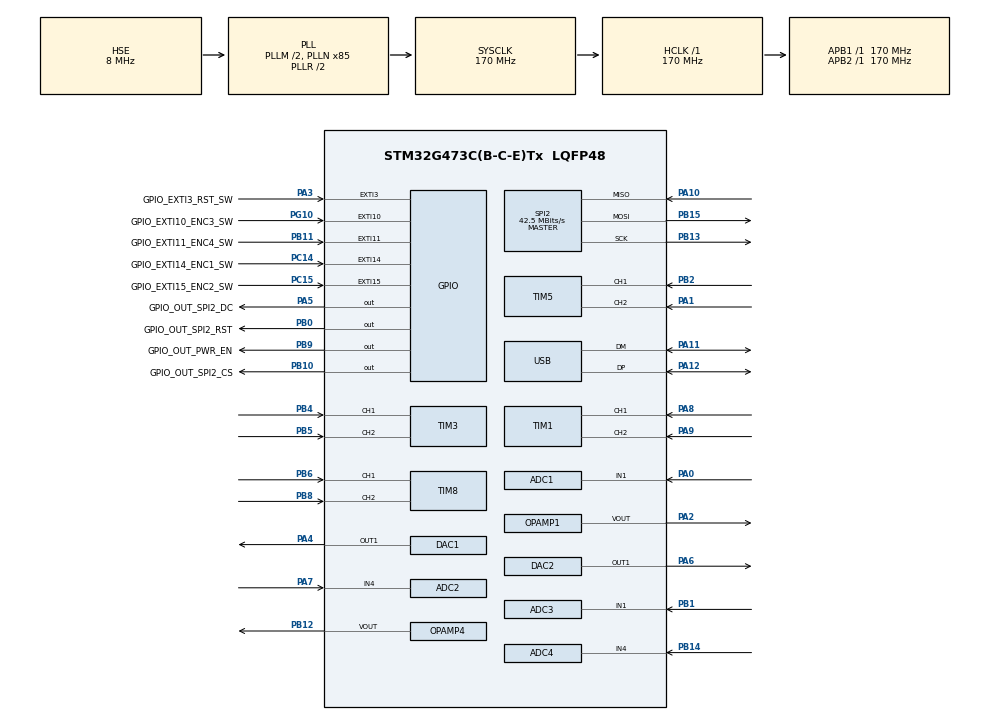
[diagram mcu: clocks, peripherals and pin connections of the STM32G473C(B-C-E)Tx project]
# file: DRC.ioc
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ADC1.Channel-2\#ChannelRegularConversion=ADC_CHANNEL_1
ADC1.NbrOfConversionFlag=1
ADC1.OffsetNumber-2\#ChannelRegularConversion=ADC_OFFSET_NONE
ADC1.Rank-2\#ChannelRegularConversion=1
ADC1.SamplingTime-2\#ChannelRegularConversion=ADC_SAMPLETIME_2CYCLES_5
ADC1.master=1
ADC2.Channel-2\#ChannelRegularConversion=ADC_CHANNEL_4
ADC2.NbrOfConversionFlag=1
ADC2.OffsetNumber-2\#ChannelRegularConversion=ADC_OFFSET_NONE
ADC2.Rank-2\#ChannelRegularConversion=1
ADC2.SamplingTime-2\#ChannelRegularConversion=ADC_SAMPLETIME_2CYCLES_5
ADC3.Channel-2\#ChannelRegularConversion=ADC_CHANNEL_1
ADC3.NbrOfConversionFlag=1
ADC3.OffsetNumber-2\#ChannelRegularConversion=ADC_OFFSET_NONE
ADC3.Rank-2\#ChannelRegularConversion=1
ADC3.SamplingTime-2\#ChannelRegularConversion=ADC_SAMPLETIME_2CYCLES_5
ADC3.master=1
ADC4.Channel-2\#ChannelRegularConversion=ADC_CHANNEL_4
ADC4.NbrOfConversionFlag=1
ADC4.OffsetNumber-2\#ChannelRegularConversion=ADC_OFFSET_NONE
ADC4.Rank-2\#ChannelRegularConversion=1
ADC4.SamplingTime-2\#ChannelRegularConversion=ADC_SAMPLETIME_2CYCLES_5
DAC4.DAC_Channel-DAC_OUT2_Int=DAC_CHANNEL_2
Mcu.Family=STM32G4
Mcu.Name=STM32G473C(B-C-E)Tx
Mcu.Package=LQFP48
NVIC.EXTI15_10_IRQn=true\:0\:0\:false\:false\:true\:true\:true\:true
NVIC.EXTI3_IRQn=true\:0\:0\:false\:false\:true\:true\:true\:true
NVIC.PVD_PVM_IRQn=true\:0\:0\:false\:false\:true\:true\:true\:true
NVIC.PriorityGroup=NVIC_PRIORITYGROUP_4
NVIC.TIM1_CC_IRQn=true\:0\:0\:false\:false\:true\:true\:true\:true
NVIC.TIM3_IRQn=true\:0\:0\:false\:false\:true\:true\:true\:true
NVIC.TIM5_IRQn=true\:0\:0\:false\:false\:true\:true\:true\:true
NVIC.TIM8_CC_IRQn=true\:0\:0\:false\:false\:true\:true\:true\:true
NVIC.USB_LP_IRQn=true\:0\:0\:false\:false\:true\:false\:true\:true
PA0.Mode=IN1-Single-Ended
PA0.Signal=ADC1_IN1
PA1.Signal=S_TIM5_CH2
PA10.Mode=Full_Duplex_Master
PA10.Signal=SPI2_MISO
PA11.Mode=Device
PA11.Signal=USB_DM
PA12.Mode=Device
PA12.Signal=USB_DP
PA13.Mode=JTAG_4_pins
PA13.Signal=SYS_JTMS-SWDIO
PA14.Mode=JTAG_4_pins
PA14.Signal=SYS_JTCK-SWCLK
PA15.Mode=JTAG_4_pins
PA15.Signal=SYS_JTDI
PA2.Mode=Follower-DAC_OUT2-INP
PA2.Signal=OPAMP1_VOUT
PA3.GPIO_Label=GPIO_EXTI3_RST_SW
PA3.Signal=GPXTI3
PA4.Signal=COMP_DAC11_group
PA5.GPIO_Label=GPIO_OUT_SPI2_DC
PA5.Signal=GPIO_Output
PA6.Signal=COMP_DAC21_group
PA7.Mode=IN4-Single-Ended
PA7.Signal=ADC2_IN4
PA8.Signal=S_TIM1_CH1
PA9.Signal=S_TIM1_CH2
PB0.GPIO_Label=GPIO_OUT_SPI2_RST
PB0.Signal=GPIO_Output
PB1.Mode=IN1-Single-Ended
PB1.Signal=ADC3_IN1
PB10.GPIO_Label=GPIO_OUT_SPI2_CS
PB10.Signal=GPIO_Output
PB11.GPIO_Label=GPIO_EXTI11_ENC4_SW
PB11.Signal=GPXTI11
PB12.Mode=Follower-DAC_OUT2-INP
PB12.Signal=OPAMP4_VOUT
PB13.Mode=Full_Duplex_Master
PB13.Signal=SPI2_SCK
PB14.Mode=IN4-Single-Ended
PB14.Signal=ADC4_IN4
PB15.Mode=Full_Duplex_Master
PB15.Signal=SPI2_MOSI
PB2.Signal=S_TIM5_CH1
PB3.Mode=JTAG_4_pins
PB3.Signal=SYS_JTDO-SWO
PB4.Signal=S_TIM3_CH1
PB5.Signal=S_TIM3_CH2
PB6.Signal=S_TIM8_CH1
PB7.Mode=Mode_PVD_Ext
PB7.Signal=SYS_PVD_IN
PB8-BOOT0.Signal=S_TIM8_CH2
PB9.GPIO_Label=GPIO_OUT_PWR_EN
PB9.Signal=GPIO_Output
PC13.Mode=SYS_WakeUp1
PC13.Signal=SYS_WKUP2
PC14-OSC32_IN.GPIO_Label=GPIO_EXTI14_ENC1_SW
PC14-OSC32_IN.Signal=GPXTI14
PC15-OSC32_OUT.GPIO_Label=GPIO_EXTI15_ENC2_SW
PC15-OSC32_OUT.Signal=GPXTI15
PF0-OSC_IN.Mode=HSE-External-Oscillator
PF0-OSC_IN.Signal=RCC_OSC_IN
PF1-OSC_OUT.Mode=HSE-External-Oscillator
PF1-OSC_OUT.Signal=RCC_OSC_OUT
PG10-NRST.GPIO_Label=GPIO_EXTI10_ENC3_SW
PG10-NRST.Signal=GPXTI10
ProjectManager.HeapSize=0x200
ProjectManager.StackSize=0x400
ProjectManager.TargetToolchain=STM32CubeIDE
RCC.ADC12Freq_Value=170000000
RCC.ADC345Freq_Value=170000000
RCC.AHBFreq_Value=170000000
RCC.APB1Freq_Value=170000000
RCC.APB1TimFreq_Value=170000000
RCC.APB2Freq_Value=170000000
RCC.APB2TimFreq_Value=170000000
RCC.CK48CLockSelection=RCC_USBCLKSOURCE_HSI48
RCC.CortexFreq_Value=170000000
RCC.EXTERNAL_CLOCK_VALUE=12288000
RCC.HCLKFreq_Value=170000000
RCC.HSE_VALUE=8000000
RCC.HSI48_VALUE=48000000
RCC.HSI_VALUE=16000000
RCC.PLLM=RCC_PLLM_DIV2
RCC.PLLN=85
RCC.PLLSourceVirtual=RCC_PLLSOURCE_HSE
RCC.SYSCLKFreq_VALUE=170000000
RCC.SYSCLKSource=RCC_SYSCLKSOURCE_PLLCLK
RCC.USBFreq_Value=48000000
RCC.VCOOutputFreq_Value=340000000
SH.COMP_DAC11_group.0=DAC1_OUT1,DAC_OUT1
SH.COMP_DAC21_group.0=DAC2_OUT1,DAC_OUT1
SH.S_TIM1_CH1.0=TIM1_CH1,Encoder_Interface
SH.S_TIM1_CH2.0=TIM1_CH2,Encoder_Interface
SH.S_TIM3_CH1.0=TIM3_CH1,Encoder_Interface
SH.S_TIM3_CH2.0=TIM3_CH2,Encoder_Interface
SH.S_TIM5_CH1.0=TIM5_CH1,Encoder_Interface
SH.S_TIM5_CH2.0=TIM5_CH2,Encoder_Interface
SH.S_TIM8_CH1.0=TIM8_CH1,Encoder_Interface
SH.S_TIM8_CH2.0=TIM8_CH2,Encoder_Interface
SPI2.BaudRatePrescaler=SPI_BAUDRATEPRESCALER_4
SPI2.CLKPhase=SPI_PHASE_1EDGE
SPI2.CalculateBaudRate=42.5 MBits/s
SPI2.Direction=SPI_DIRECTION_2LINES
SPI2.Mode=SPI_MODE_MASTER
SPI2.VirtualNSS=VM_NSSHARD
SPI2.VirtualType=VM_MASTER
TIM1.AutoReloadPreload=TIM_AUTORELOAD_PRELOAD_DISABLE
TIM1.EncoderMode=TIM_ENCODERMODE_TI12
TIM1.IC1Filter=0
TIM1.IC2Filter=0
TIM3.AutoReloadPreload=TIM_AUTORELOAD_PRELOAD_DISABLE
TIM3.EncoderMode=TIM_ENCODERMODE_TI12
TIM3.IC1Filter=0
TIM3.IC2Filter=0
TIM5.AutoReloadPreload=TIM_AUTORELOAD_PRELOAD_ENABLE
TIM5.EncoderMode=TIM_ENCODERMODE_TI12
TIM5.IC1Filter=10
TIM5.IC2Filter=10
TIM8.AutoReloadPreload=TIM_AUTORELOAD_PRELOAD_ENABLE
TIM8.EncoderMode=TIM_ENCODERMODE_TI12
TIM8.IC1Filter=10
TIM8.IC2Filter=10
USB_DEVICE.CLASS_NAME_FS=DFU
USB_DEVICE.VirtualMode=Dfu
USB_DEVICE.VirtualModeFS=Dfu_FS
VP_CORDIC_VS_CORDIC.Mode=CORDIC_Activate
VP_DAC3_VS_DACI1.Mode=DAC_OUT1_Int
VP_DAC4_VS_DACI1.Mode=DAC_OUT1_Int
VP_SYS_VS_DBSignals.Mode=DisableDeadBatterySignals
VP_USB_DEVICE_VS_USB_DEVICE_DFU_FS.Mode=DFU_FS
board=custom

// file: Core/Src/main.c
/* USER CODE BEGIN Header */
/**
  ******************************************************************************
  * @file           : main.c
  * @brief          : Main program body
  ******************************************************************************
  * @attention
  *
  * Copyright (c) 2024 STMicroelectronics.
  * All rights reserved.
  *
  * This software is licensed under terms that can be found in the LICENSE file
  * in the root directory of this software component.
  * If no LICENSE file comes with this software, it is provided AS-IS.
  *
  ******************************************************************************
  */
/* USER CODE END Header */
#include "main.h"
#include "usb_device.h"

/* USER CODE BEGIN Includes */
#include "stm32g4xx_hal_dac.h"
#include "motor_encoder.h"
/* USER CODE END Includes */

ADC_HandleTypeDef hadc1;
ADC_HandleTypeDef hadc2;
ADC_HandleTypeDef hadc3;
ADC_HandleTypeDef hadc4;

CORDIC_HandleTypeDef hcordic;

DAC_HandleTypeDef hdac1;
DAC_HandleTypeDef hdac2;
DAC_HandleTypeDef hdac3;
DAC_HandleTypeDef hdac4;

OPAMP_HandleTypeDef hopamp1;
OPAMP_HandleTypeDef hopamp4;

SPI_HandleTypeDef hspi2;

TIM_HandleTypeDef htim1;
TIM_HandleTypeDef htim3;
TIM_HandleTypeDef htim5;
TIM_HandleTypeDef htim8;

void SystemClock_Config(void);
static void MX_GPIO_Init(void);
static void MX_ADC1_Init(void);
static void MX_ADC4_Init(void);
static void MX_DAC1_Init(void);
static void MX_DAC2_Init(void);
static void MX_DAC3_Init(void);
static void MX_DAC4_Init(void);
static void MX_ADC2_Init(void);
static void MX_ADC3_Init(void);
static void MX_OPAMP1_Init(void);
static void MX_OPAMP4_Init(void);
static void MX_TIM3_Init(void);
static void MX_TIM8_Init(void);
static void MX_SPI2_Init(void);
static void MX_TIM1_Init(void);
static void MX_CORDIC_Init(void);
static void MX_TIM5_Init(void);
/* USER CODE BEGIN PFP */
void HAL_TIM_PeriodElapsedCallback(TIM_HandleTypeDef *htim);
void SetDACOutput(DAC_HandleTypeDef* hdac, uint32_t Channel, uint32_t Alignment, uint32_t Data);
void SetDACVoltage(DAC_HandleTypeDef* hdac, uint32_t Channel, float DesiredVoltage, float ReferenceVoltage);
/* USER CODE END PFP */

/* USER CODE BEGIN 0 */
uint16_t tim_ct_1;
int16_t enc_vel_1;
int32_t enc_pos_1;
int16_t enc_vel_2;
int32_t enc_pos_2;
uint16_t tim_ct_2;
int16_t enc_vel_3;
int32_t enc_pos_3;
uint16_t tim_ct_3;
int16_t enc_vel_4;
int32_t enc_pos_4;
uint16_t tim_ct_4;

void HAL_TIM_PeriodElapsedCallback(TIM_HandleTypeDef *htim)
{
  tim_ct_1 = __HAL_TIM_GET_COUNTER(&htim1);
  update_encoder(&enc_instance, &htim1);
  enc_pos_1 = enc_instance.position;
  enc_vel_1 = enc_instance.velocity;
}

void SetDACOutput(DAC_HandleTypeDef *hdac, uint32_t Channel, uint32_t Alignment, uint32_t Data)
{
  // Check if DAC is ready and start the DAC channel if not already started
  if(HAL_DAC_Start(hdac, Channel) != HAL_OK)
  {
	  Error_Handler(); // Handle error
  }
  // Set the DAC value
  if(HAL_DAC_SetValue(hdac, Channel, Alignment, Data) != HAL_OK)
  {
	  Error_Handler(); // Handle error
  }
}

void SetDACVoltage(DAC_HandleTypeDef* hdac, uint32_t Channel, float DesiredVoltage, float ReferenceVoltage)
{
  if(ReferenceVoltage <= 0)
  {
	  // Avoid division by zero
	  Error_Handler();
	  return;
  }

  // Assuming a 12-bit DAC, Max DAC Value = 4095
  uint32_t MaxDACValue = 4095;
  uint32_t DACValue = (uint32_t)((DesiredVoltage / ReferenceVoltage) * MaxDACValue);

  // Ensure DACValue does not exceed MaxDACValue
  if(DACValue > MaxDACValue)
  {
	  DACValue = MaxDACValue;
  }

  // Use SetDACOutput to set the value
  SetDACOutput(hdac, Channel, DAC_ALIGN_12B_R, DACValue);
}

/* USER CODE END 0 */

int main(void)
{

  /* MCU Configuration--------------------------------------------------------*/

  /* Reset of all peripherals, Initializes the Flash interface and the Systick. */
  HAL_Init();

  /* Configure the system clock */
  SystemClock_Config();

  /* Initialize all configured peripherals */
  MX_GPIO_Init();
  MX_ADC1_Init();
  MX_ADC4_Init();
  MX_DAC1_Init();
  MX_DAC2_Init();
  MX_DAC3_Init();
  MX_DAC4_Init();
  MX_USB_Device_Init();
  MX_ADC2_Init();
  MX_ADC3_Init();
  MX_OPAMP1_Init();
  MX_OPAMP4_Init();
  MX_TIM3_Init();
  MX_TIM8_Init();
  MX_SPI2_Init();
  MX_TIM1_Init();
  MX_CORDIC_Init();
  MX_TIM5_Init();

  /* Infinite loop */
  while (1)
  {

  }
}

void SystemClock_Config(void)
{
  RCC_OscInitTypeDef RCC_OscInitStruct = {0};
  RCC_ClkInitTypeDef RCC_ClkInitStruct = {0};

  /** Configure the main internal regulator output voltage
  */
  HAL_PWREx_ControlVoltageScaling(PWR_REGULATOR_VOLTAGE_SCALE1_BOOST);

  /** Initializes the RCC Oscillators according to the specified parameters
  * in the RCC_OscInitTypeDef structure.
  */
  RCC_OscInitStruct.OscillatorType = RCC_OSCILLATORTYPE_HSI48|RCC_OSCILLATORTYPE_HSE;
  RCC_OscInitStruct.HSEState = RCC_HSE_ON;
  RCC_OscInitStruct.HSI48State = RCC_HSI48_ON;
  RCC_OscInitStruct.PLL.PLLState = RCC_PLL_ON;
  RCC_OscInitStruct.PLL.PLLSource = RCC_PLLSOURCE_HSE;
  RCC_OscInitStruct.PLL.PLLM = RCC_PLLM_DIV2;
  RCC_OscInitStruct.PLL.PLLN = 85;
  RCC_OscInitStruct.PLL.PLLP = RCC_PLLP_DIV2;
  RCC_OscInitStruct.PLL.PLLQ = RCC_PLLQ_DIV2;
  RCC_OscInitStruct.PLL.PLLR = RCC_PLLR_DIV2;
  if (HAL_RCC_OscConfig(&RCC_OscInitStruct) != HAL_OK)
  {
    Error_Handler();
  }

  /** Initializes the CPU, AHB and APB buses clocks
  */
  RCC_ClkInitStruct.ClockType = RCC_CLOCKTYPE_HCLK|RCC_CLOCKTYPE_SYSCLK
                              |RCC_CLOCKTYPE_PCLK1|RCC_CLOCKTYPE_PCLK2;
  RCC_ClkInitStruct.SYSCLKSource = RCC_SYSCLKSOURCE_PLLCLK;
  RCC_ClkInitStruct.AHBCLKDivider = RCC_SYSCLK_DIV1;
  RCC_ClkInitStruct.APB1CLKDivider = RCC_HCLK_DIV1;
  RCC_ClkInitStruct.APB2CLKDivider = RCC_HCLK_DIV1;

  if (HAL_RCC_ClockConfig(&RCC_ClkInitStruct, FLASH_LATENCY_4) != HAL_OK)
  {
    Error_Handler();
  }
}

static void MX_ADC1_Init(void)
{

  ADC_MultiModeTypeDef multimode = {0};
  ADC_ChannelConfTypeDef sConfig = {0};

  /** Common config
  */
  hadc1.Instance = ADC1;
  hadc1.Init.ClockPrescaler = ADC_CLOCK_SYNC_PCLK_DIV4;
  hadc1.Init.Resolution = ADC_RESOLUTION_12B;
  hadc1.Init.DataAlign = ADC_DATAALIGN_RIGHT;
  hadc1.Init.GainCompensation = 0;
  hadc1.Init.ScanConvMode = ADC_SCAN_DISABLE;
  hadc1.Init.EOCSelection = ADC_EOC_SINGLE_CONV;
  hadc1.Init.LowPowerAutoWait = DISABLE;
  hadc1.Init.ContinuousConvMode = DISABLE;
  hadc1.Init.NbrOfConversion = 1;
  hadc1.Init.DiscontinuousConvMode = DISABLE;
  hadc1.Init.ExternalTrigConv = ADC_SOFTWARE_START;
  hadc1.Init.ExternalTrigConvEdge = ADC_EXTERNALTRIGCONVEDGE_NONE;
  hadc1.Init.DMAContinuousRequests = DISABLE;
  hadc1.Init.Overrun = ADC_OVR_DATA_PRESERVED;
  hadc1.Init.OversamplingMode = DISABLE;
  if (HAL_ADC_Init(&hadc1) != HAL_OK)
  {
    Error_Handler();
  }

  /** Configure the ADC multi-mode
  */
  multimode.Mode = ADC_MODE_INDEPENDENT;
  if (HAL_ADCEx_MultiModeConfigChannel(&hadc1, &multimode) != HAL_OK)
  {
    Error_Handler();
  }

  /** Configure Regular Channel
  */
  sConfig.Channel = ADC_CHANNEL_1;
  sConfig.Rank = ADC_REGULAR_RANK_1;
  sConfig.SamplingTime = ADC_SAMPLETIME_2CYCLES_5;
  sConfig.SingleDiff = ADC_SINGLE_ENDED;
  sConfig.OffsetNumber = ADC_OFFSET_NONE;
  sConfig.Offset = 0;
  if (HAL_ADC_ConfigChannel(&hadc1, &sConfig) != HAL_OK)
  {
    Error_Handler();
  }

}

static void MX_ADC2_Init(void)
{

  ADC_ChannelConfTypeDef sConfig = {0};

  /** Common config
  */
  hadc2.Instance = ADC2;
  hadc2.Init.ClockPrescaler = ADC_CLOCK_SYNC_PCLK_DIV4;
  hadc2.Init.Resolution = ADC_RESOLUTION_12B;
  hadc2.Init.DataAlign = ADC_DATAALIGN_RIGHT;
  hadc2.Init.GainCompensation = 0;
  hadc2.Init.ScanConvMode = ADC_SCAN_DISABLE;
  hadc2.Init.EOCSelection = ADC_EOC_SINGLE_CONV;
  hadc2.Init.LowPowerAutoWait = DISABLE;
  hadc2.Init.ContinuousConvMode = DISABLE;
  hadc2.Init.NbrOfConversion = 1;
  hadc2.Init.DiscontinuousConvMode = DISABLE;
  hadc2.Init.ExternalTrigConv = ADC_SOFTWARE_START;
  hadc2.Init.ExternalTrigConvEdge = ADC_EXTERNALTRIGCONVEDGE_NONE;
  hadc2.Init.DMAContinuousRequests = DISABLE;
  hadc2.Init.Overrun = ADC_OVR_DATA_PRESERVED;
  hadc2.Init.OversamplingMode = DISABLE;
  if (HAL_ADC_Init(&hadc2) != HAL_OK)
  {
    Error_Handler();
  }

  /** Configure Regular Channel
  */
  sConfig.Channel = ADC_CHANNEL_4;
  sConfig.Rank = ADC_REGULAR_RANK_1;
  sConfig.SamplingTime = ADC_SAMPLETIME_2CYCLES_5;
  sConfig.SingleDiff = ADC_SINGLE_ENDED;
  sConfig.OffsetNumber = ADC_OFFSET_NONE;
  sConfig.Offset = 0;
  if (HAL_ADC_ConfigChannel(&hadc2, &sConfig) != HAL_OK)
  {
    Error_Handler();
  }

}

static void MX_ADC3_Init(void)
{

  ADC_MultiModeTypeDef multimode = {0};
  ADC_ChannelConfTypeDef sConfig = {0};

  /** Common config
  */
  hadc3.Instance = ADC3;
  hadc3.Init.ClockPrescaler = ADC_CLOCK_SYNC_PCLK_DIV4;
  hadc3.Init.Resolution = ADC_RESOLUTION_12B;
  hadc3.Init.DataAlign = ADC_DATAALIGN_RIGHT;
  hadc3.Init.GainCompensation = 0;
  hadc3.Init.ScanConvMode = ADC_SCAN_DISABLE;
  hadc3.Init.EOCSelection = ADC_EOC_SINGLE_CONV;
  hadc3.Init.LowPowerAutoWait = DISABLE;
  hadc3.Init.ContinuousConvMode = DISABLE;
  hadc3.Init.NbrOfConversion = 1;
  hadc3.Init.DiscontinuousConvMode = DISABLE;
  hadc3.Init.ExternalTrigConv = ADC_SOFTWARE_START;
  hadc3.Init.ExternalTrigConvEdge = ADC_EXTERNALTRIGCONVEDGE_NONE;
  hadc3.Init.DMAContinuousRequests = DISABLE;
  hadc3.Init.Overrun = ADC_OVR_DATA_PRESERVED;
  hadc3.Init.OversamplingMode = DISABLE;
  if (HAL_ADC_Init(&hadc3) != HAL_OK)
  {
    Error_Handler();
  }

  /** Configure the ADC multi-mode
  */
  multimode.Mode = ADC_MODE_INDEPENDENT;
  if (HAL_ADCEx_MultiModeConfigChannel(&hadc3, &multimode) != HAL_OK)
  {
    Error_Handler();
  }

  /** Configure Regular Channel
  */
  sConfig.Channel = ADC_CHANNEL_1;
  sConfig.Rank = ADC_REGULAR_RANK_1;
  sConfig.SamplingTime = ADC_SAMPLETIME_2CYCLES_5;
  sConfig.SingleDiff = ADC_SINGLE_ENDED;
  sConfig.OffsetNumber = ADC_OFFSET_NONE;
  sConfig.Offset = 0;
  if (HAL_ADC_ConfigChannel(&hadc3, &sConfig) != HAL_OK)
  {
    Error_Handler();
  }

}

static void MX_ADC4_Init(void)
{

  ADC_ChannelConfTypeDef sConfig = {0};

  /** Common config
  */
  hadc4.Instance = ADC4;
  hadc4.Init.ClockPrescaler = ADC_CLOCK_SYNC_PCLK_DIV4;
  hadc4.Init.Resolution = ADC_RESOLUTION_12B;
  hadc4.Init.DataAlign = ADC_DATAALIGN_RIGHT;
  hadc4.Init.GainCompensation = 0;
  hadc4.Init.ScanConvMode = ADC_SCAN_DISABLE;
  hadc4.Init.EOCSelection = ADC_EOC_SINGLE_CONV;
  hadc4.Init.LowPowerAutoWait = DISABLE;
  hadc4.Init.ContinuousConvMode = DISABLE;
  hadc4.Init.NbrOfConversion = 1;
  hadc4.Init.DiscontinuousConvMode = DISABLE;
  hadc4.Init.ExternalTrigConv = ADC_SOFTWARE_START;
  hadc4.Init.ExternalTrigConvEdge = ADC_EXTERNALTRIGCONVEDGE_NONE;
  hadc4.Init.DMAContinuousRequests = DISABLE;
  hadc4.Init.Overrun = ADC_OVR_DATA_PRESERVED;
  hadc4.Init.OversamplingMode = DISABLE;
  if (HAL_ADC_Init(&hadc4) != HAL_OK)
  {
    Error_Handler();
  }

  /** Configure Regular Channel
  */
  sConfig.Channel = ADC_CHANNEL_4;
  sConfig.Rank = ADC_REGULAR_RANK_1;
  sConfig.SamplingTime = ADC_SAMPLETIME_2CYCLES_5;
  sConfig.SingleDiff = ADC_SINGLE_ENDED;
  sConfig.OffsetNumber = ADC_OFFSET_NONE;
  sConfig.Offset = 0;
  if (HAL_ADC_ConfigChannel(&hadc4, &sConfig) != HAL_OK)
  {
    Error_Handler();
  }

}

static void MX_CORDIC_Init(void)
{

  hcordic.Instance = CORDIC;
  if (HAL_CORDIC_Init(&hcordic) != HAL_OK)
  {
    Error_Handler();
  }

}

static void MX_DAC1_Init(void)
{

  DAC_ChannelConfTypeDef sConfig = {0};

  /** DAC Initialization
  */
  hdac1.Instance = DAC1;
  if (HAL_DAC_Init(&hdac1) != HAL_OK)
  {
    Error_Handler();
  }

  /** DAC channel OUT1 config
  */
  sConfig.DAC_HighFrequency = DAC_HIGH_FREQUENCY_INTERFACE_MODE_AUTOMATIC;
  sConfig.DAC_DMADoubleDataMode = DISABLE;
  sConfig.DAC_SignedFormat = DISABLE;
  sConfig.DAC_SampleAndHold = DAC_SAMPLEANDHOLD_DISABLE;
  sConfig.DAC_Trigger = DAC_TRIGGER_NONE;
  sConfig.DAC_Trigger2 = DAC_TRIGGER_NONE;
  sConfig.DAC_OutputBuffer = DAC_OUTPUTBUFFER_ENABLE;
  sConfig.DAC_ConnectOnChipPeripheral = DAC_CHIPCONNECT_EXTERNAL;
  sConfig.DAC_UserTrimming = DAC_TRIMMING_FACTORY;
  if (HAL_DAC_ConfigChannel(&hdac1, &sConfig, DAC_CHANNEL_1) != HAL_OK)
  {
    Error_Handler();
  }

}

static void MX_DAC2_Init(void)
{

  DAC_ChannelConfTypeDef sConfig = {0};

  /** DAC Initialization
  */
  hdac2.Instance = DAC2;
  if (HAL_DAC_Init(&hdac2) != HAL_OK)
  {
    Error_Handler();
  }

  /** DAC channel OUT1 config
  */
  sConfig.DAC_HighFrequency = DAC_HIGH_FREQUENCY_INTERFACE_MODE_AUTOMATIC;
  sConfig.DAC_DMADoubleDataMode = DISABLE;
  sConfig.DAC_SignedFormat = DISABLE;
  sConfig.DAC_SampleAndHold = DAC_SAMPLEANDHOLD_DISABLE;
  sConfig.DAC_Trigger = DAC_TRIGGER_NONE;
  sConfig.DAC_Trigger2 = DAC_TRIGGER_NONE;
  sConfig.DAC_OutputBuffer = DAC_OUTPUTBUFFER_ENABLE;
  sConfig.DAC_ConnectOnChipPeripheral = DAC_CHIPCONNECT_EXTERNAL;
  sConfig.DAC_UserTrimming = DAC_TRIMMING_FACTORY;
  if (HAL_DAC_ConfigChannel(&hdac2, &sConfig, DAC_CHANNEL_1) != HAL_OK)
  {
    Error_Handler();
  }

}

static void MX_DAC3_Init(void)
{

  DAC_ChannelConfTypeDef sConfig = {0};

  /** DAC Initialization
  */
  hdac3.Instance = DAC3;
  if (HAL_DAC_Init(&hdac3) != HAL_OK)
  {
    Error_Handler();
  }

  /** DAC channel OUT1 config
  */
  sConfig.DAC_HighFrequency = DAC_HIGH_FREQUENCY_INTERFACE_MODE_AUTOMATIC;
  sConfig.DAC_DMADoubleDataMode = DISABLE;
  sConfig.DAC_SignedFormat = DISABLE;
  sConfig.DAC_SampleAndHold = DAC_SAMPLEANDHOLD_DISABLE;
  sConfig.DAC_Trigger = DAC_TRIGGER_NONE;
  sConfig.DAC_Trigger2 = DAC_TRIGGER_NONE;
  sConfig.DAC_OutputBuffer = DAC_OUTPUTBUFFER_DISABLE;
  sConfig.DAC_ConnectOnChipPeripheral = DAC_CHIPCONNECT_INTERNAL;
  sConfig.DAC_UserTrimming = DAC_TRIMMING_FACTORY;
  if (HAL_DAC_ConfigChannel(&hdac3, &sConfig, DAC_CHANNEL_1) != HAL_OK)
  {
    Error_Handler();
  }

}

static void MX_DAC4_Init(void)
{

  DAC_ChannelConfTypeDef sConfig = {0};

  /** DAC Initialization
  */
  hdac4.Instance = DAC4;
  if (HAL_DAC_Init(&hdac4) != HAL_OK)
  {
    Error_Handler();
  }

  /** DAC channel OUT1 config
  */
  sConfig.DAC_HighFrequency = DAC_HIGH_FREQUENCY_INTERFACE_MODE_AUTOMATIC;
  sConfig.DAC_DMADoubleDataMode = DISABLE;
  sConfig.DAC_SignedFormat = DISABLE;
  sConfig.DAC_SampleAndHold = DAC_SAMPLEANDHOLD_DISABLE;
  sConfig.DAC_Trigger = DAC_TRIGGER_NONE;
  sConfig.DAC_Trigger2 = DAC_TRIGGER_NONE;
  sConfig.DAC_OutputBuffer = DAC_OUTPUTBUFFER_DISABLE;
  sConfig.DAC_ConnectOnChipPeripheral = DAC_CHIPCONNECT_INTERNAL;
  sConfig.DAC_UserTrimming = DAC_TRIMMING_FACTORY;
  if (HAL_DAC_ConfigChannel(&hdac4, &sConfig, DAC_CHANNEL_1) != HAL_OK)
  {
    Error_Handler();
  }

}

static void MX_OPAMP1_Init(void)
{

  hopamp1.Instance = OPAMP1;
  hopamp1.Init.PowerMode = OPAMP_POWERMODE_NORMALSPEED;
  hopamp1.Init.Mode = OPAMP_FOLLOWER_MODE;
  hopamp1.Init.NonInvertingInput = OPAMP_NONINVERTINGINPUT_DAC;
  hopamp1.Init.InternalOutput = DISABLE;
  hopamp1.Init.TimerControlledMuxmode = OPAMP_TIMERCONTROLLEDMUXMODE_DISABLE;
  hopamp1.Init.UserTrimming = OPAMP_TRIMMING_FACTORY;
  if (HAL_OPAMP_Init(&hopamp1) != HAL_OK)
  {
    Error_Handler();
  }

}

static void MX_OPAMP4_Init(void)
{

  hopamp4.Instance = OPAMP4;
  hopamp4.Init.PowerMode = OPAMP_POWERMODE_NORMALSPEED;
  hopamp4.Init.Mode = OPAMP_FOLLOWER_MODE;
  hopamp4.Init.NonInvertingInput = OPAMP_NONINVERTINGINPUT_DAC;
  hopamp4.Init.InternalOutput = DISABLE;
  hopamp4.Init.TimerControlledMuxmode = OPAMP_TIMERCONTROLLEDMUXMODE_DISABLE;
  hopamp4.Init.UserTrimming = OPAMP_TRIMMING_FACTORY;
  if (HAL_OPAMP_Init(&hopamp4) != HAL_OK)
  {
    Error_Handler();
  }

}

static void MX_SPI2_Init(void)
{

  /* SPI2 parameter configuration*/
  hspi2.Instance = SPI2;
  hspi2.Init.Mode = SPI_MODE_MASTER;
  hspi2.Init.Direction = SPI_DIRECTION_2LINES;
  hspi2.Init.DataSize = SPI_DATASIZE_4BIT;
  hspi2.Init.CLKPolarity = SPI_POLARITY_LOW;
  hspi2.Init.CLKPhase = SPI_PHASE_1EDGE;
  hspi2.Init.NSS = SPI_NSS_SOFT;
  hspi2.Init.BaudRatePrescaler = SPI_BAUDRATEPRESCALER_4;
  hspi2.Init.FirstBit = SPI_FIRSTBIT_MSB;
  hspi2.Init.TIMode = SPI_TIMODE_DISABLE;
  hspi2.Init.CRCCalculation = SPI_CRCCALCULATION_DISABLE;
  hspi2.Init.CRCPolynomial = 7;
  hspi2.Init.CRCLength = SPI_CRC_LENGTH_DATASIZE;
  hspi2.Init.NSSPMode = SPI_NSS_PULSE_ENABLE;
  if (HAL_SPI_Init(&hspi2) != HAL_OK)
  {
    Error_Handler();
  }

}

static void MX_TIM1_Init(void)
{

  TIM_Encoder_InitTypeDef sConfig = {0};
  TIM_MasterConfigTypeDef sMasterConfig = {0};

  htim1.Instance = TIM1;
  htim1.Init.Prescaler = 0;
  htim1.Init.CounterMode = TIM_COUNTERMODE_UP;
  htim1.Init.Period = 65535;
  htim1.Init.ClockDivision = TIM_CLOCKDIVISION_DIV1;
  htim1.Init.RepetitionCounter = 0;
  htim1.Init.AutoReloadPreload = TIM_AUTORELOAD_PRELOAD_DISABLE;
  sConfig.EncoderMode = TIM_ENCODERMODE_TI12;
  sConfig.IC1Polarity = TIM_ICPOLARITY_RISING;
  sConfig.IC1Selection = TIM_ICSELECTION_DIRECTTI;
  sConfig.IC1Prescaler = TIM_ICPSC_DIV1;
  sConfig.IC1Filter = 0;
  sConfig.IC2Polarity = TIM_ICPOLARITY_RISING;
  sConfig.IC2Selection = TIM_ICSELECTION_DIRECTTI;
  sConfig.IC2Prescaler = TIM_ICPSC_DIV1;
  sConfig.IC2Filter = 0;
  if (HAL_TIM_Encoder_Init(&htim1, &sConfig) != HAL_OK)
  {
    Error_Handler();
  }
  sMasterConfig.MasterOutputTrigger = TIM_TRGO_RESET;
  sMasterConfig.MasterOutputTrigger2 = TIM_TRGO2_RESET;
  sMasterConfig.MasterSlaveMode = TIM_MASTERSLAVEMODE_DISABLE;
  if (HAL_TIMEx_MasterConfigSynchronization(&htim1, &sMasterConfig) != HAL_OK)
  {
    Error_Handler();
  }
  /* USER CODE BEGIN TIM1_Init 2 */
  HAL_TIM_Encoder_Start(&htim1, TIM_CHANNEL_ALL);
  /* USER CODE END TIM1_Init 2 */

}

static void MX_TIM3_Init(void)
{

  TIM_Encoder_InitTypeDef sConfig = {0};
  TIM_MasterConfigTypeDef sMasterConfig = {0};

  htim3.Instance = TIM3;
  htim3.Init.Prescaler = 0;
  htim3.Init.CounterMode = TIM_COUNTERMODE_UP;
  htim3.Init.Period = 65535;
  htim3.Init.ClockDivision = TIM_CLOCKDIVISION_DIV1;
  htim3.Init.AutoReloadPreload = TIM_AUTORELOAD_PRELOAD_DISABLE;
  sConfig.EncoderMode = TIM_ENCODERMODE_TI12;
  sConfig.IC1Polarity = TIM_ICPOLARITY_RISING;
  sConfig.IC1Selection = TIM_ICSELECTION_DIRECTTI;
  sConfig.IC1Prescaler = TIM_ICPSC_DIV1;
  sConfig.IC1Filter = 0;
  sConfig.IC2Polarity = TIM_ICPOLARITY_RISING;
  sConfig.IC2Selection = TIM_ICSELECTION_DIRECTTI;
  sConfig.IC2Prescaler = TIM_ICPSC_DIV1;
  sConfig.IC2Filter = 0;
  if (HAL_TIM_Encoder_Init(&htim3, &sConfig) != HAL_OK)
  {
    Error_Handler();
  }
  sMasterConfig.MasterOutputTrigger = TIM_TRGO_RESET;
  sMasterConfig.MasterSlaveMode = TIM_MASTERSLAVEMODE_DISABLE;
  if (HAL_TIMEx_MasterConfigSynchronization(&htim3, &sMasterConfig) != HAL_OK)
  {
    Error_Handler();
  }
  /* USER CODE BEGIN TIM3_Init 2 */
  HAL_TIM_Encoder_Start(&htim3, TIM_CHANNEL_ALL);
  /* USER CODE END TIM3_Init 2 */

}

static void MX_TIM5_Init(void)
{

  TIM_Encoder_InitTypeDef sConfig = {0};
  TIM_MasterConfigTypeDef sMasterConfig = {0};

  htim5.Instance = TIM5;
  htim5.Init.Prescaler = 0;
  htim5.Init.CounterMode = TIM_COUNTERMODE_UP;
  htim5.Init.Period = 4294967295;
  htim5.Init.ClockDivision = TIM_CLOCKDIVISION_DIV1;
  htim5.Init.AutoReloadPreload = TIM_AUTORELOAD_PRELOAD_ENABLE;
  sConfig.EncoderMode = TIM_ENCODERMODE_TI12;
  sConfig.IC1Polarity = TIM_ICPOLARITY_RISING;
  sConfig.IC1Selection = TIM_ICSELECTION_DIRECTTI;
  sConfig.IC1Prescaler = TIM_ICPSC_DIV1;
  sConfig.IC1Filter = 10;
  sConfig.IC2Polarity = TIM_ICPOLARITY_RISING;
  sConfig.IC2Selection = TIM_ICSELECTION_DIRECTTI;
  sConfig.IC2Prescaler = TIM_ICPSC_DIV1;
  sConfig.IC2Filter = 10;
  if (HAL_TIM_Encoder_Init(&htim5, &sConfig) != HAL_OK)
  {
    Error_Handler();
  }
  sMasterConfig.MasterOutputTrigger = TIM_TRGO_RESET;
  sMasterConfig.MasterSlaveMode = TIM_MASTERSLAVEMODE_DISABLE;
  if (HAL_TIMEx_MasterConfigSynchronization(&htim5, &sMasterConfig) != HAL_OK)
  {
    Error_Handler();
  }
  /* USER CODE BEGIN TIM5_Init 2 */
  HAL_TIM_Encoder_Start(&htim5, TIM_CHANNEL_ALL);
  /* USER CODE END TIM5_Init 2 */

}

static void MX_TIM8_Init(void)
{

  TIM_Encoder_InitTypeDef sConfig = {0};
  TIM_MasterConfigTypeDef sMasterConfig = {0};

  htim8.Instance = TIM8;
  htim8.Init.Prescaler = 0;
  htim8.Init.CounterMode = TIM_COUNTERMODE_UP;
  htim8.Init.Period = 65535;
  htim8.Init.ClockDivision = TIM_CLOCKDIVISION_DIV1;
  htim8.Init.RepetitionCounter = 0;
  htim8.Init.AutoReloadPreload = TIM_AUTORELOAD_PRELOAD_ENABLE;
  sConfig.EncoderMode = TIM_ENCODERMODE_TI12;
  sConfig.IC1Polarity = TIM_ICPOLARITY_RISING;
  sConfig.IC1Selection = TIM_ICSELECTION_DIRECTTI;
  sConfig.IC1Prescaler = TIM_ICPSC_DIV1;
  sConfig.IC1Filter = 10;
  sConfig.IC2Polarity = TIM_ICPOLARITY_RISING;
  sConfig.IC2Selection = TIM_ICSELECTION_DIRECTTI;
  sConfig.IC2Prescaler = TIM_ICPSC_DIV1;
  sConfig.IC2Filter = 10;
  if (HAL_TIM_Encoder_Init(&htim8, &sConfig) != HAL_OK)
  {
    Error_Handler();
  }
  sMasterConfig.MasterOutputTrigger = TIM_TRGO_RESET;
  sMasterConfig.MasterOutputTrigger2 = TIM_TRGO2_RESET;
  sMasterConfig.MasterSlaveMode = TIM_MASTERSLAVEMODE_DISABLE;
  if (HAL_TIMEx_MasterConfigSynchronization(&htim8, &sMasterConfig) != HAL_OK)
  {
    Error_Handler();
  }
  /* USER CODE BEGIN TIM8_Init 2 */
  HAL_TIM_Encoder_Start(&htim8, TIM_CHANNEL_ALL);
  /* USER CODE END TIM8_Init 2 */

}

static void MX_GPIO_Init(void)
{
  GPIO_InitTypeDef GPIO_InitStruct = {0};

  /* GPIO Ports Clock Enable */
  __HAL_RCC_GPIOC_CLK_ENABLE();
  __HAL_RCC_GPIOF_CLK_ENABLE();
  __HAL_RCC_GPIOG_CLK_ENABLE();
  __HAL_RCC_GPIOA_CLK_ENABLE();
  __HAL_RCC_GPIOB_CLK_ENABLE();

  /*Configure GPIO pin Output Level */
  HAL_GPIO_WritePin(GPIO_OUT_SPI2_DC_GPIO_Port, GPIO_OUT_SPI2_DC_Pin, GPIO_PIN_RESET);

  /*Configure GPIO pin Output Level */
  HAL_GPIO_WritePin(GPIOB, GPIO_OUT_SPI2_RST_Pin|GPIO_OUT_SPI2_CS_Pin|GPIO_OUT_PWR_EN_Pin, GPIO_PIN_RESET);

  /*Configure GPIO pins : GPIO_EXTI14_ENC1_SW_Pin GPIO_EXTI15_ENC2_SW_Pin */
  GPIO_InitStruct.Pin = GPIO_EXTI14_ENC1_SW_Pin|GPIO_EXTI15_ENC2_SW_Pin;
  GPIO_InitStruct.Mode = GPIO_MODE_IT_RISING;
  GPIO_InitStruct.Pull = GPIO_NOPULL;
  HAL_GPIO_Init(GPIOC, &GPIO_InitStruct);

  /*Configure GPIO pin : GPIO_EXTI10_ENC3_SW_Pin */
  GPIO_InitStruct.Pin = GPIO_EXTI10_ENC3_SW_Pin;
  GPIO_InitStruct.Mode = GPIO_MODE_IT_RISING;
  GPIO_InitStruct.Pull = GPIO_NOPULL;
  HAL_GPIO_Init(GPIO_EXTI10_ENC3_SW_GPIO_Port, &GPIO_InitStruct);

  /*Configure GPIO pin : GPIO_EXTI3_RST_SW_Pin */
  GPIO_InitStruct.Pin = GPIO_EXTI3_RST_SW_Pin;
  GPIO_InitStruct.Mode = GPIO_MODE_IT_RISING;
  GPIO_InitStruct.Pull = GPIO_NOPULL;
  HAL_GPIO_Init(GPIO_EXTI3_RST_SW_GPIO_Port, &GPIO_InitStruct);

  /*Configure GPIO pin : GPIO_OUT_SPI2_DC_Pin */
  GPIO_InitStruct.Pin = GPIO_OUT_SPI2_DC_Pin;
  GPIO_InitStruct.Mode = GPIO_MODE_OUTPUT_PP;
  GPIO_InitStruct.Pull = GPIO_NOPULL;
  GPIO_InitStruct.Speed = GPIO_SPEED_FREQ_LOW;
  HAL_GPIO_Init(GPIO_OUT_SPI2_DC_GPIO_Port, &GPIO_InitStruct);

  /*Configure GPIO pins : GPIO_OUT_SPI2_RST_Pin GPIO_OUT_SPI2_CS_Pin GPIO_OUT_PWR_EN_Pin */
  GPIO_InitStruct.Pin = GPIO_OUT_SPI2_RST_Pin|GPIO_OUT_SPI2_CS_Pin|GPIO_OUT_PWR_EN_Pin;
  GPIO_InitStruct.Mode = GPIO_MODE_OUTPUT_PP;
  GPIO_InitStruct.Pull = GPIO_NOPULL;
  GPIO_InitStruct.Speed = GPIO_SPEED_FREQ_LOW;
  HAL_GPIO_Init(GPIOB, &GPIO_InitStruct);

  /*Configure GPIO pin : GPIO_EXTI11_ENC4_SW_Pin */
  GPIO_InitStruct.Pin = GPIO_EXTI11_ENC4_SW_Pin;
  GPIO_InitStruct.Mode = GPIO_MODE_IT_RISING;
  GPIO_InitStruct.Pull = GPIO_NOPULL;
  HAL_GPIO_Init(GPIO_EXTI11_ENC4_SW_GPIO_Port, &GPIO_InitStruct);

  /*Configure GPIO pin : PB7 */
  GPIO_InitStruct.Pin = GPIO_PIN_7;
  GPIO_InitStruct.Mode = GPIO_MODE_ANALOG;
  GPIO_InitStruct.Pull = GPIO_NOPULL;
  HAL_GPIO_Init(GPIOB, &GPIO_InitStruct);

  /* EXTI interrupt init*/
  HAL_NVIC_SetPriority(EXTI3_IRQn, 0, 0);
  HAL_NVIC_EnableIRQ(EXTI3_IRQn);

  HAL_NVIC_SetPriority(EXTI15_10_IRQn, 0, 0);
  HAL_NVIC_EnableIRQ(EXTI15_10_IRQn);

}

void Error_Handler(void)
{
  __disable_irq();
  while (1)
  {
  }
}
